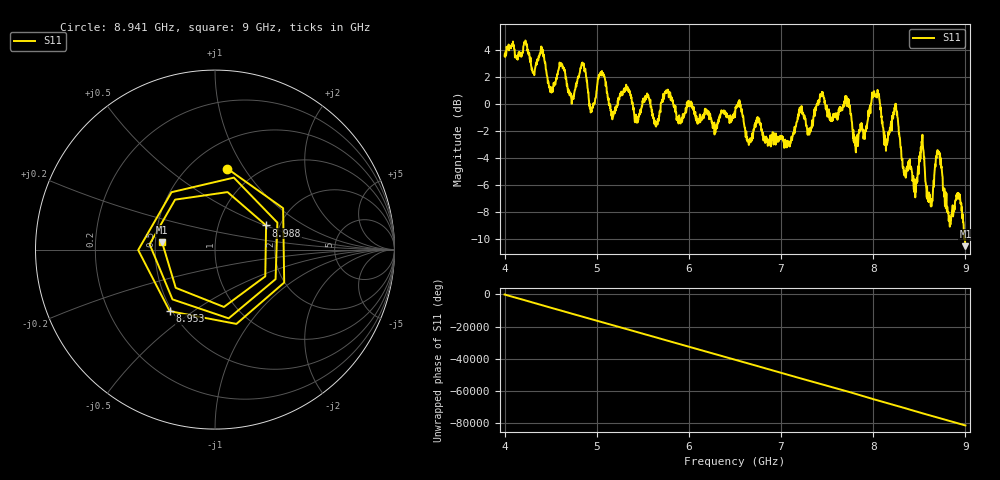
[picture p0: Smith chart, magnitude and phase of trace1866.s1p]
! Created with skrf 1.8.0 (http://scikit-rf.org).
# Hz S RI R 50.0
!freq ReS11 ImS11
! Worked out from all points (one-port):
!   1601 points, 4 GHz to 9 GHz, reference 50 ohm
!   lowest |S11| = -10.5 dB at 9 GHz (marker M1), VSWR 1.85, Z = 27.2 + j2.41 ohm
!   |S11| at or under -10 dB: 8.987614 GHz to 8.989629 GHz (2.015 MHz wide, 0.0224 % of centre); 8.995168 GHz to end of sweep
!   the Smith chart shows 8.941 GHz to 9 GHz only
!   S11 on the Smith chart (normalised r, x): 8.941 GHz: 0.74, +0.84; 8.953 GHz: 0.49, -0.41; 8.988 GHz: 1.70, +0.51; 9 GHz: 0.54, +0.05
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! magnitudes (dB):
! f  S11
! 4 GHz  3.5
! 4.503 GHz  0.9
! 4.625 GHz  2.9
! 4.731 GHz  0.2
! 4.856 GHz  2.8
! 4.944 GHz  -0.6
! 5.047 GHz  2.2
! 5.169 GHz  -1.2
! 5.25 GHz  0.6
! 5.875 GHz  -1.0
! 6.5 GHz  -1.0
! 7.125 GHz  -2.4
! 7.444 GHz  0.9
! 7.75 GHz  -0.5
! 7.812 GHz  -3.6
! 8.009 GHz  0.9
! 8.134 GHz  -2.6
! 8.244 GHz  -0.3
! 8.375 GHz  -5.0
! 8.456 GHz  -6.9
! 8.531 GHz  -2.6
! 8.619 GHz  -7.1
! 8.709 GHz  -3.6
! 8.822 GHz  -8.4
! 8.941 GHz  -6.8
! 8.953 GHz  -7.4
! 8.988 GHz  -10.0
! 9 GHz  -10.5
